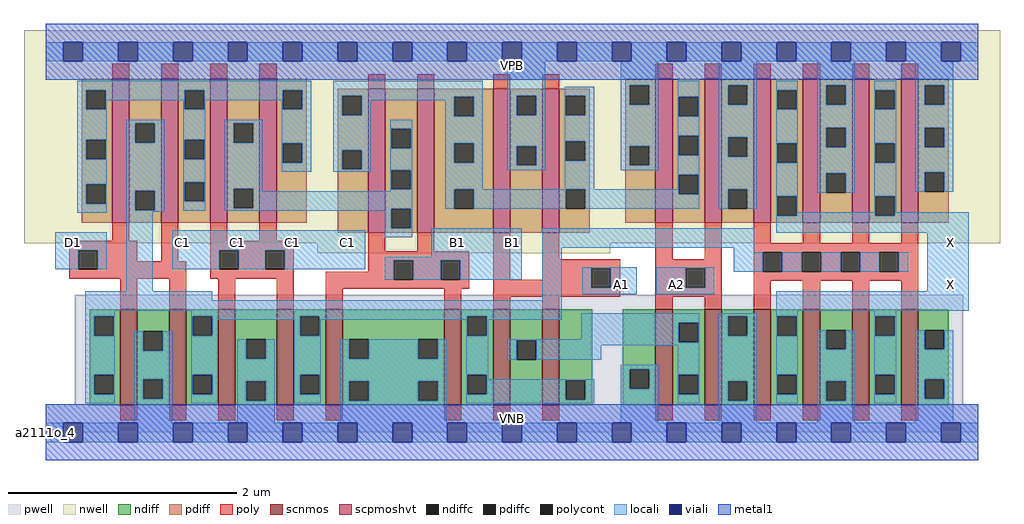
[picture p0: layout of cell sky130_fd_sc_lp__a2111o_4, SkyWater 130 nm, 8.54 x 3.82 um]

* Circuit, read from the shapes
.subckt sky130_fd_sc_lp__a2111o_4 A1 A2 B1 C1 D1 VGND VNB VPB VPWR X
XM1 VGND D1 n1 VNB sky130_fd_pr__nfet_01v8 w=0.84 l=0.15 m=2
XM2 VGND C1 n1 VNB sky130_fd_pr__nfet_01v8 w=0.84 l=0.15 m=2
XM3 VGND B1 n1 VNB sky130_fd_pr__nfet_01v8 w=0.84 l=0.15 m=2
XM4 n2 A1 n1 VNB sky130_fd_pr__nfet_01v8 w=0.84 l=0.15 m=2
XM5 n2 A2 VGND VNB sky130_fd_pr__nfet_01v8 w=0.84 l=0.15 m=2
XM6 X n1 VGND VNB sky130_fd_pr__nfet_01v8 w=0.84 l=0.15 m=4
XM7 n1 D1 n3 VPB sky130_fd_pr__pfet_01v8_hvt w=1.26 l=0.15 m=2
XM8 n4 C1 n3 VPB sky130_fd_pr__pfet_01v8_hvt w=1.26 l=0.15 m=2
XM9 n4 B1 n5 VPB sky130_fd_pr__pfet_01v8_hvt w=1.26 l=0.15 m=2
XM10 VPWR A1 n5 VPB sky130_fd_pr__pfet_01v8_hvt w=1.26 l=0.15 m=2
XM11 n5 A2 VPWR VPB sky130_fd_pr__pfet_01v8_hvt w=1.26 l=0.15 m=2
XM12 X n1 VPWR VPB sky130_fd_pr__pfet_01v8_hvt w=1.26 l=0.15 m=4
.ends

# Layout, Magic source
magic
tech sky130A
magscale 1 2
<< nwell >>
rect -38 331 1670 704
rect 475 313 988 331
<< pwell >>
rect 51 49 1606 241
rect 0 0 1632 49
<< scnmos >>
rect 130 47 160 215
rect 216 47 246 215
rect 302 47 332 215
rect 404 47 434 215
rect 490 47 520 215
rect 697 47 727 215
rect 783 47 813 215
rect 869 47 899 215
rect 1067 47 1097 215
rect 1153 47 1183 215
rect 1239 47 1269 215
rect 1325 47 1355 215
rect 1411 47 1441 215
rect 1497 47 1527 215
<< scpmoshvt >>
rect 116 367 146 619
rect 202 367 232 619
rect 288 367 318 619
rect 374 367 404 619
rect 564 349 594 601
rect 650 349 680 601
rect 783 349 813 601
rect 869 349 899 601
rect 1067 367 1097 619
rect 1153 367 1183 619
rect 1239 367 1269 619
rect 1325 367 1355 619
rect 1411 367 1441 619
rect 1497 367 1527 619
<< ndiff >>
rect 77 203 130 215
rect 77 169 85 203
rect 119 169 130 203
rect 77 101 130 169
rect 77 67 85 101
rect 119 67 130 101
rect 77 47 130 67
rect 160 177 216 215
rect 160 143 171 177
rect 205 143 216 177
rect 160 93 216 143
rect 160 59 171 93
rect 205 59 216 93
rect 160 47 216 59
rect 246 203 302 215
rect 246 169 257 203
rect 291 169 302 203
rect 246 101 302 169
rect 246 67 257 101
rect 291 67 302 101
rect 246 47 302 67
rect 332 163 404 215
rect 332 129 351 163
rect 385 129 404 163
rect 332 89 404 129
rect 332 55 351 89
rect 385 55 404 89
rect 332 47 404 55
rect 434 203 490 215
rect 434 169 445 203
rect 479 169 490 203
rect 434 101 490 169
rect 434 67 445 101
rect 479 67 490 101
rect 434 47 490 67
rect 520 163 697 215
rect 520 129 531 163
rect 565 129 652 163
rect 686 129 697 163
rect 520 89 697 129
rect 520 55 531 89
rect 565 55 652 89
rect 686 55 697 89
rect 520 47 697 55
rect 727 203 783 215
rect 727 169 738 203
rect 772 169 783 203
rect 727 101 783 169
rect 727 67 738 101
rect 772 67 783 101
rect 727 47 783 67
rect 813 161 869 215
rect 813 127 824 161
rect 858 127 869 161
rect 813 47 869 127
rect 899 91 956 215
rect 899 57 910 91
rect 944 57 956 91
rect 899 47 956 57
rect 1010 110 1067 215
rect 1010 76 1022 110
rect 1056 76 1067 110
rect 1010 47 1067 76
rect 1097 192 1153 215
rect 1097 158 1108 192
rect 1142 158 1153 192
rect 1097 101 1153 158
rect 1097 67 1108 101
rect 1142 67 1153 101
rect 1097 47 1153 67
rect 1183 203 1239 215
rect 1183 169 1194 203
rect 1228 169 1239 203
rect 1183 89 1239 169
rect 1183 55 1194 89
rect 1228 55 1239 89
rect 1183 47 1239 55
rect 1269 203 1325 215
rect 1269 169 1280 203
rect 1314 169 1325 203
rect 1269 101 1325 169
rect 1269 67 1280 101
rect 1314 67 1325 101
rect 1269 47 1325 67
rect 1355 179 1411 215
rect 1355 145 1366 179
rect 1400 145 1411 179
rect 1355 89 1411 145
rect 1355 55 1366 89
rect 1400 55 1411 89
rect 1355 47 1411 55
rect 1441 203 1497 215
rect 1441 169 1452 203
rect 1486 169 1497 203
rect 1441 101 1497 169
rect 1441 67 1452 101
rect 1486 67 1497 101
rect 1441 47 1497 67
rect 1527 179 1580 215
rect 1527 145 1538 179
rect 1572 145 1580 179
rect 1527 93 1580 145
rect 1527 59 1538 93
rect 1572 59 1580 93
rect 1527 47 1580 59
<< pdiff >>
rect 63 599 116 619
rect 63 565 71 599
rect 105 565 116 599
rect 63 512 116 565
rect 63 478 71 512
rect 105 478 116 512
rect 63 434 116 478
rect 63 400 71 434
rect 105 400 116 434
rect 63 367 116 400
rect 146 541 202 619
rect 146 507 157 541
rect 191 507 202 541
rect 146 423 202 507
rect 146 389 157 423
rect 191 389 202 423
rect 146 367 202 389
rect 232 599 288 619
rect 232 565 243 599
rect 277 565 288 599
rect 232 512 288 565
rect 232 478 243 512
rect 277 478 288 512
rect 232 438 288 478
rect 232 404 243 438
rect 277 404 288 438
rect 232 367 288 404
rect 318 541 374 619
rect 318 507 329 541
rect 363 507 374 541
rect 318 426 374 507
rect 318 392 329 426
rect 363 392 374 426
rect 318 367 374 392
rect 404 599 457 619
rect 1014 607 1067 619
rect 404 565 415 599
rect 449 565 457 599
rect 404 506 457 565
rect 404 472 415 506
rect 449 472 457 506
rect 404 367 457 472
rect 511 589 564 601
rect 511 555 519 589
rect 553 555 564 589
rect 511 494 564 555
rect 511 460 519 494
rect 553 460 564 494
rect 511 349 564 460
rect 594 531 650 601
rect 594 497 605 531
rect 639 497 650 531
rect 594 459 650 497
rect 594 425 605 459
rect 639 425 650 459
rect 594 391 650 425
rect 594 357 605 391
rect 639 357 650 391
rect 594 349 650 357
rect 680 587 783 601
rect 680 553 715 587
rect 749 553 783 587
rect 680 506 783 553
rect 680 472 715 506
rect 749 472 783 506
rect 680 425 783 472
rect 680 391 715 425
rect 749 391 783 425
rect 680 349 783 391
rect 813 589 869 601
rect 813 555 824 589
rect 858 555 869 589
rect 813 501 869 555
rect 813 467 824 501
rect 858 467 869 501
rect 813 349 869 467
rect 899 589 952 601
rect 899 555 910 589
rect 944 555 952 589
rect 899 509 952 555
rect 899 475 910 509
rect 944 475 952 509
rect 899 425 952 475
rect 899 391 910 425
rect 944 391 952 425
rect 899 349 952 391
rect 1014 573 1022 607
rect 1056 573 1067 607
rect 1014 501 1067 573
rect 1014 467 1022 501
rect 1056 467 1067 501
rect 1014 367 1067 467
rect 1097 587 1153 619
rect 1097 553 1108 587
rect 1142 553 1153 587
rect 1097 519 1153 553
rect 1097 485 1108 519
rect 1142 485 1153 519
rect 1097 451 1153 485
rect 1097 417 1108 451
rect 1142 417 1153 451
rect 1097 367 1153 417
rect 1183 607 1239 619
rect 1183 573 1194 607
rect 1228 573 1239 607
rect 1183 516 1239 573
rect 1183 482 1194 516
rect 1228 482 1239 516
rect 1183 425 1239 482
rect 1183 391 1194 425
rect 1228 391 1239 425
rect 1183 367 1239 391
rect 1269 599 1325 619
rect 1269 565 1280 599
rect 1314 565 1325 599
rect 1269 506 1325 565
rect 1269 472 1280 506
rect 1314 472 1325 506
rect 1269 413 1325 472
rect 1269 379 1280 413
rect 1314 379 1325 413
rect 1269 367 1325 379
rect 1355 607 1411 619
rect 1355 573 1366 607
rect 1400 573 1411 607
rect 1355 533 1411 573
rect 1355 499 1366 533
rect 1400 499 1411 533
rect 1355 453 1411 499
rect 1355 419 1366 453
rect 1400 419 1411 453
rect 1355 367 1411 419
rect 1441 599 1497 619
rect 1441 565 1452 599
rect 1486 565 1497 599
rect 1441 506 1497 565
rect 1441 472 1452 506
rect 1486 472 1497 506
rect 1441 413 1497 472
rect 1441 379 1452 413
rect 1486 379 1497 413
rect 1441 367 1497 379
rect 1527 607 1580 619
rect 1527 573 1538 607
rect 1572 573 1580 607
rect 1527 533 1580 573
rect 1527 499 1538 533
rect 1572 499 1580 533
rect 1527 455 1580 499
rect 1527 421 1538 455
rect 1572 421 1580 455
rect 1527 367 1580 421
<< ndiffc >>
rect 85 169 119 203
rect 85 67 119 101
rect 171 143 205 177
rect 171 59 205 93
rect 257 169 291 203
rect 257 67 291 101
rect 351 129 385 163
rect 351 55 385 89
rect 445 169 479 203
rect 445 67 479 101
rect 531 129 565 163
rect 652 129 686 163
rect 531 55 565 89
rect 652 55 686 89
rect 738 169 772 203
rect 738 67 772 101
rect 824 127 858 161
rect 910 57 944 91
rect 1022 76 1056 110
rect 1108 158 1142 192
rect 1108 67 1142 101
rect 1194 169 1228 203
rect 1194 55 1228 89
rect 1280 169 1314 203
rect 1280 67 1314 101
rect 1366 145 1400 179
rect 1366 55 1400 89
rect 1452 169 1486 203
rect 1452 67 1486 101
rect 1538 145 1572 179
rect 1538 59 1572 93
<< pdiffc >>
rect 71 565 105 599
rect 71 478 105 512
rect 71 400 105 434
rect 157 507 191 541
rect 157 389 191 423
rect 243 565 277 599
rect 243 478 277 512
rect 243 404 277 438
rect 329 507 363 541
rect 329 392 363 426
rect 415 565 449 599
rect 415 472 449 506
rect 519 555 553 589
rect 519 460 553 494
rect 605 497 639 531
rect 605 425 639 459
rect 605 357 639 391
rect 715 553 749 587
rect 715 472 749 506
rect 715 391 749 425
rect 824 555 858 589
rect 824 467 858 501
rect 910 555 944 589
rect 910 475 944 509
rect 910 391 944 425
rect 1022 573 1056 607
rect 1022 467 1056 501
rect 1108 553 1142 587
rect 1108 485 1142 519
rect 1108 417 1142 451
rect 1194 573 1228 607
rect 1194 482 1228 516
rect 1194 391 1228 425
rect 1280 565 1314 599
rect 1280 472 1314 506
rect 1280 379 1314 413
rect 1366 573 1400 607
rect 1366 499 1400 533
rect 1366 419 1400 453
rect 1452 565 1486 599
rect 1452 472 1486 506
rect 1452 379 1486 413
rect 1538 573 1572 607
rect 1538 499 1572 533
rect 1538 421 1572 455
<< poly >>
rect 116 619 146 645
rect 202 619 232 645
rect 288 619 318 645
rect 374 619 404 645
rect 564 601 594 627
rect 650 601 680 627
rect 783 601 813 627
rect 869 601 899 627
rect 1067 619 1097 645
rect 1153 619 1183 645
rect 1239 619 1269 645
rect 1325 619 1355 645
rect 1411 619 1441 645
rect 1497 619 1527 645
rect 116 335 146 367
rect 41 319 160 335
rect 41 285 57 319
rect 91 299 160 319
rect 202 299 232 367
rect 288 335 318 367
rect 374 335 404 367
rect 288 319 434 335
rect 91 285 246 299
rect 41 269 246 285
rect 288 285 304 319
rect 338 285 384 319
rect 418 285 434 319
rect 288 269 434 285
rect 564 317 594 349
rect 650 317 680 349
rect 564 301 741 317
rect 564 281 609 301
rect 130 215 160 269
rect 216 215 246 269
rect 302 215 332 269
rect 404 215 434 269
rect 490 267 609 281
rect 643 267 691 301
rect 725 267 741 301
rect 490 251 741 267
rect 783 267 813 349
rect 869 303 899 349
rect 1067 303 1097 367
rect 1153 303 1183 367
rect 869 287 1005 303
rect 869 267 955 287
rect 783 253 955 267
rect 989 253 1005 287
rect 490 215 520 251
rect 697 215 727 251
rect 783 237 1005 253
rect 1067 287 1183 303
rect 1067 253 1120 287
rect 1154 253 1183 287
rect 1067 237 1183 253
rect 783 215 813 237
rect 869 215 899 237
rect 1067 215 1097 237
rect 1153 215 1183 237
rect 1239 331 1269 367
rect 1325 331 1355 367
rect 1411 331 1441 367
rect 1497 331 1527 367
rect 1239 315 1527 331
rect 1239 281 1255 315
rect 1289 281 1323 315
rect 1357 281 1391 315
rect 1425 281 1459 315
rect 1493 281 1527 315
rect 1239 265 1527 281
rect 1239 215 1269 265
rect 1325 215 1355 265
rect 1411 215 1441 265
rect 1497 215 1527 265
rect 130 21 160 47
rect 216 21 246 47
rect 302 21 332 47
rect 404 21 434 47
rect 490 21 520 47
rect 697 21 727 47
rect 783 21 813 47
rect 869 21 899 47
rect 1067 21 1097 47
rect 1153 21 1183 47
rect 1239 21 1269 47
rect 1325 21 1355 47
rect 1411 21 1441 47
rect 1497 21 1527 47
<< polycont >>
rect 57 285 91 319
rect 304 285 338 319
rect 384 285 418 319
rect 609 267 643 301
rect 691 267 725 301
rect 955 253 989 287
rect 1120 253 1154 287
rect 1255 281 1289 315
rect 1323 281 1357 315
rect 1391 281 1425 315
rect 1459 281 1493 315
<< locali >>
rect 0 649 31 683
rect 65 649 127 683
rect 161 649 223 683
rect 257 649 319 683
rect 353 649 415 683
rect 449 649 511 683
rect 545 649 607 683
rect 641 649 703 683
rect 737 649 799 683
rect 833 649 895 683
rect 929 649 991 683
rect 1025 649 1087 683
rect 1121 649 1183 683
rect 1217 649 1279 683
rect 1313 649 1375 683
rect 1409 649 1471 683
rect 1505 649 1567 683
rect 1601 649 1632 683
rect 55 599 465 615
rect 55 565 71 599
rect 105 581 243 599
rect 105 565 107 581
rect 55 512 107 565
rect 241 565 243 581
rect 277 581 415 599
rect 277 565 279 581
rect 55 478 71 512
rect 105 478 107 512
rect 55 434 107 478
rect 55 400 71 434
rect 105 400 107 434
rect 55 384 107 400
rect 141 541 207 547
rect 141 507 157 541
rect 191 507 207 541
rect 141 423 207 507
rect 141 389 157 423
rect 191 389 207 423
rect 141 386 207 389
rect 241 512 279 565
rect 413 565 415 581
rect 449 565 465 599
rect 241 478 243 512
rect 277 478 279 512
rect 241 438 279 478
rect 241 404 243 438
rect 277 404 279 438
rect 241 388 279 404
rect 313 541 379 547
rect 313 507 329 541
rect 363 507 379 541
rect 313 426 379 507
rect 413 506 465 565
rect 413 472 415 506
rect 449 472 465 506
rect 413 456 465 472
rect 503 589 765 615
rect 503 555 519 589
rect 553 587 765 589
rect 553 581 715 587
rect 553 555 569 581
rect 503 494 569 555
rect 699 553 715 581
rect 749 553 765 587
rect 503 460 519 494
rect 553 460 569 494
rect 503 456 569 460
rect 603 531 641 547
rect 603 497 605 531
rect 639 497 641 531
rect 603 459 641 497
rect 313 392 329 426
rect 363 422 379 426
rect 603 425 605 459
rect 639 425 641 459
rect 603 422 641 425
rect 363 392 641 422
rect 313 391 641 392
rect 699 506 765 553
rect 699 472 715 506
rect 749 472 765 506
rect 699 425 765 472
rect 808 589 874 649
rect 1006 607 1072 649
rect 808 555 824 589
rect 858 555 874 589
rect 808 501 874 555
rect 808 467 824 501
rect 858 467 874 501
rect 808 459 874 467
rect 908 589 960 605
rect 908 555 910 589
rect 944 555 960 589
rect 908 509 960 555
rect 908 475 910 509
rect 944 475 960 509
rect 908 425 960 475
rect 1006 573 1022 607
rect 1056 573 1072 607
rect 1006 501 1072 573
rect 1006 467 1022 501
rect 1056 467 1072 501
rect 1006 459 1072 467
rect 1106 587 1144 615
rect 1106 553 1108 587
rect 1142 553 1144 587
rect 1106 519 1144 553
rect 1106 485 1108 519
rect 1142 485 1144 519
rect 1106 451 1144 485
rect 1106 425 1108 451
rect 699 391 715 425
rect 749 391 910 425
rect 944 417 1108 425
rect 1142 417 1144 451
rect 944 391 1144 417
rect 1178 607 1244 649
rect 1178 573 1194 607
rect 1228 573 1244 607
rect 1178 516 1244 573
rect 1178 482 1194 516
rect 1228 482 1244 516
rect 1178 425 1244 482
rect 1178 391 1194 425
rect 1228 391 1244 425
rect 1278 599 1316 615
rect 1278 565 1280 599
rect 1314 565 1316 599
rect 1278 506 1316 565
rect 1278 472 1280 506
rect 1314 472 1316 506
rect 1278 413 1316 472
rect 1350 607 1416 649
rect 1350 573 1366 607
rect 1400 573 1416 607
rect 1350 533 1416 573
rect 1350 499 1366 533
rect 1400 499 1416 533
rect 1350 453 1416 499
rect 1350 419 1366 453
rect 1400 419 1416 453
rect 1450 599 1488 615
rect 1450 565 1452 599
rect 1486 565 1488 599
rect 1450 506 1488 565
rect 1450 472 1452 506
rect 1486 472 1488 506
rect 313 388 605 391
rect 17 319 107 350
rect 17 285 57 319
rect 91 285 107 319
rect 141 247 187 386
rect 593 357 605 388
rect 639 357 641 391
rect 1278 379 1280 413
rect 1314 385 1316 413
rect 1450 413 1488 472
rect 1522 607 1588 649
rect 1522 573 1538 607
rect 1572 573 1588 607
rect 1522 533 1588 573
rect 1522 499 1538 533
rect 1572 499 1588 533
rect 1522 455 1588 499
rect 1522 421 1538 455
rect 1572 421 1588 455
rect 1450 385 1452 413
rect 1314 379 1452 385
rect 1486 385 1488 413
rect 1486 379 1615 385
rect 221 319 559 354
rect 593 341 641 357
rect 221 285 304 319
rect 338 285 384 319
rect 418 285 559 319
rect 675 307 833 357
rect 593 301 833 307
rect 593 267 609 301
rect 643 267 691 301
rect 725 267 833 301
rect 869 323 1240 357
rect 1278 349 1615 379
rect 69 231 291 247
rect 869 231 903 323
rect 1204 315 1240 323
rect 939 287 1034 289
rect 939 253 955 287
rect 989 253 1034 287
rect 939 242 1034 253
rect 1068 287 1170 289
rect 1068 253 1120 287
rect 1154 253 1170 287
rect 1204 281 1255 315
rect 1289 281 1323 315
rect 1357 281 1391 315
rect 1425 281 1459 315
rect 1493 281 1509 315
rect 1068 242 1170 253
rect 1543 247 1615 349
rect 69 213 903 231
rect 69 203 121 213
rect 69 169 85 203
rect 119 169 121 203
rect 255 203 903 213
rect 1278 213 1615 247
rect 69 101 121 169
rect 69 67 85 101
rect 119 67 121 101
rect 69 51 121 67
rect 155 143 171 177
rect 205 143 221 177
rect 155 93 221 143
rect 155 59 171 93
rect 205 59 221 93
rect 155 17 221 59
rect 255 169 257 203
rect 291 197 445 203
rect 291 169 301 197
rect 255 101 301 169
rect 435 169 445 197
rect 479 197 738 203
rect 479 169 481 197
rect 255 67 257 101
rect 291 67 301 101
rect 255 51 301 67
rect 335 129 351 163
rect 385 129 401 163
rect 335 89 401 129
rect 335 55 351 89
rect 385 55 401 89
rect 335 17 401 55
rect 435 101 481 169
rect 736 169 738 197
rect 772 197 903 203
rect 772 169 774 197
rect 435 67 445 101
rect 479 67 481 101
rect 435 51 481 67
rect 515 129 531 163
rect 565 129 652 163
rect 686 129 702 163
rect 515 89 702 129
rect 515 55 531 89
rect 565 55 652 89
rect 686 55 702 89
rect 515 17 702 55
rect 736 101 774 169
rect 937 192 1144 208
rect 937 163 1108 192
rect 808 161 1108 163
rect 808 127 824 161
rect 858 158 1108 161
rect 1142 158 1144 192
rect 858 152 1144 158
rect 858 127 972 152
rect 736 67 738 101
rect 772 93 774 101
rect 1006 110 1072 118
rect 772 91 960 93
rect 772 67 910 91
rect 736 57 910 67
rect 944 57 960 91
rect 736 51 960 57
rect 1006 76 1022 110
rect 1056 76 1072 110
rect 1006 17 1072 76
rect 1106 101 1144 152
rect 1106 67 1108 101
rect 1142 67 1144 101
rect 1106 51 1144 67
rect 1178 203 1244 208
rect 1178 169 1194 203
rect 1228 169 1244 203
rect 1178 89 1244 169
rect 1178 55 1194 89
rect 1228 55 1244 89
rect 1178 17 1244 55
rect 1278 203 1316 213
rect 1278 169 1280 203
rect 1314 169 1316 203
rect 1450 203 1488 213
rect 1278 101 1316 169
rect 1278 67 1280 101
rect 1314 67 1316 101
rect 1278 51 1316 67
rect 1350 145 1366 179
rect 1400 145 1416 179
rect 1350 89 1416 145
rect 1350 55 1366 89
rect 1400 55 1416 89
rect 1350 17 1416 55
rect 1450 169 1452 203
rect 1486 169 1488 203
rect 1450 101 1488 169
rect 1450 67 1452 101
rect 1486 67 1488 101
rect 1450 51 1488 67
rect 1522 145 1538 179
rect 1572 145 1588 179
rect 1522 93 1588 145
rect 1522 59 1538 93
rect 1572 59 1588 93
rect 1522 17 1588 59
rect 0 -17 31 17
rect 65 -17 127 17
rect 161 -17 223 17
rect 257 -17 319 17
rect 353 -17 415 17
rect 449 -17 511 17
rect 545 -17 607 17
rect 641 -17 703 17
rect 737 -17 799 17
rect 833 -17 895 17
rect 929 -17 991 17
rect 1025 -17 1087 17
rect 1121 -17 1183 17
rect 1217 -17 1279 17
rect 1313 -17 1375 17
rect 1409 -17 1471 17
rect 1505 -17 1567 17
rect 1601 -17 1632 17
<< viali >>
rect 31 649 65 683
rect 127 649 161 683
rect 223 649 257 683
rect 319 649 353 683
rect 415 649 449 683
rect 511 649 545 683
rect 607 649 641 683
rect 703 649 737 683
rect 799 649 833 683
rect 895 649 929 683
rect 991 649 1025 683
rect 1087 649 1121 683
rect 1183 649 1217 683
rect 1279 649 1313 683
rect 1375 649 1409 683
rect 1471 649 1505 683
rect 1567 649 1601 683
rect 31 -17 65 17
rect 127 -17 161 17
rect 223 -17 257 17
rect 319 -17 353 17
rect 415 -17 449 17
rect 511 -17 545 17
rect 607 -17 641 17
rect 703 -17 737 17
rect 799 -17 833 17
rect 895 -17 929 17
rect 991 -17 1025 17
rect 1087 -17 1121 17
rect 1183 -17 1217 17
rect 1279 -17 1313 17
rect 1375 -17 1409 17
rect 1471 -17 1505 17
rect 1567 -17 1601 17
<< metal1 >>
rect 0 683 1632 715
rect 0 649 31 683
rect 65 649 127 683
rect 161 649 223 683
rect 257 649 319 683
rect 353 649 415 683
rect 449 649 511 683
rect 545 649 607 683
rect 641 649 703 683
rect 737 649 799 683
rect 833 649 895 683
rect 929 649 991 683
rect 1025 649 1087 683
rect 1121 649 1183 683
rect 1217 649 1279 683
rect 1313 649 1375 683
rect 1409 649 1471 683
rect 1505 649 1567 683
rect 1601 649 1632 683
rect 0 617 1632 649
rect 0 17 1632 49
rect 0 -17 31 17
rect 65 -17 127 17
rect 161 -17 223 17
rect 257 -17 319 17
rect 353 -17 415 17
rect 449 -17 511 17
rect 545 -17 607 17
rect 641 -17 703 17
rect 737 -17 799 17
rect 833 -17 895 17
rect 929 -17 991 17
rect 1025 -17 1087 17
rect 1121 -17 1183 17
rect 1217 -17 1279 17
rect 1313 -17 1375 17
rect 1409 -17 1471 17
rect 1505 -17 1567 17
rect 1601 -17 1632 17
rect 0 -49 1632 -17
<< labels >>
flabel pwell s 0 0 1632 49 0 FreeSans 200 0 0 0 VNB
port 7 nsew ground bidirectional
flabel nwell s 0 617 1632 666 0 FreeSans 200 0 0 0 VPB
port 8 nsew power bidirectional
rlabel comment s 0 0 0 0 4 a2111o_4
flabel metal1 s 0 617 1632 666 0 FreeSans 340 0 0 0 VPWR
port 9 nsew power bidirectional
flabel metal1 s 0 0 1632 49 0 FreeSans 340 0 0 0 VGND
port 6 nsew ground bidirectional
flabel locali s 991 242 1025 276 0 FreeSans 340 0 0 0 A1
port 1 nsew signal input
flabel locali s 1087 242 1121 276 0 FreeSans 340 0 0 0 A2
port 2 nsew signal input
flabel locali s 703 316 737 350 0 FreeSans 340 0 0 0 B1
port 3 nsew signal input
flabel locali s 799 316 833 350 0 FreeSans 340 0 0 0 B1
port 3 nsew signal input
flabel locali s 223 316 257 350 0 FreeSans 340 0 0 0 C1
port 4 nsew signal input
flabel locali s 319 316 353 350 0 FreeSans 340 0 0 0 C1
port 4 nsew signal input
flabel locali s 415 316 449 350 0 FreeSans 340 0 0 0 C1
port 4 nsew signal input
flabel locali s 511 316 545 350 0 FreeSans 340 0 0 0 C1
port 4 nsew signal input
flabel locali s 31 316 65 350 0 FreeSans 340 0 0 0 D1
port 5 nsew signal input
flabel locali s 1567 242 1601 276 0 FreeSans 340 0 0 0 X
port 10 nsew signal output
flabel locali s 1567 316 1601 350 0 FreeSans 340 0 0 0 X
port 10 nsew signal output
<< properties >>
string LEFsite unit
string LEFclass CORE
string FIXED_BBOX 0 0 1632 666
string GDS_FILE $PDKPATH/libs.ref/sky130_fd_sc_lp/gds/sky130_fd_sc_lp.gds
string LEFsymmetry X Y R90
string GDS_END 1077716
string GDS_START 1063836
<< end >>
